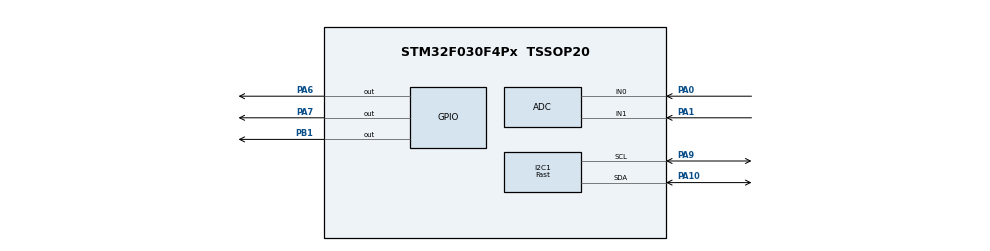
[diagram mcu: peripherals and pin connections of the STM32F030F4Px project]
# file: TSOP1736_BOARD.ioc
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I2C1.I2C_Speed_Mode=I2C_Fast
I2C1.Timing=0x0010020A
Mcu.Family=STM32F0
Mcu.Name=STM32F030F4Px
Mcu.Package=TSSOP20
PA0.Mode=IN0
PA0.Signal=ADC_IN0
PA1.Mode=IN1
PA1.Signal=ADC_IN1
PA10.Mode=I2C
PA10.Signal=I2C1_SDA
PA13.Mode=Serial_Wire
PA13.Signal=SYS_SWDIO
PA14.Mode=Serial_Wire
PA14.Signal=SYS_SWCLK
PA6.Signal=GPIO_Output
PA7.Signal=GPIO_Output
PA9.Mode=I2C
PA9.Signal=I2C1_SCL
PB1.Signal=GPIO_Output
ProjectManager.HeapSize=0x200
ProjectManager.StackSize=0x400
ProjectManager.TargetToolchain=STM32CubeIDE
board=custom

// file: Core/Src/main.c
/* USER CODE BEGIN Header */
/**
  ******************************************************************************
  * @file           : main.c
  * @brief          : Main program body
  ******************************************************************************
  * @attention
  *
  * Copyright (c) 2025 STMicroelectronics.
  * All rights reserved.
  *
  * This software is licensed under terms that can be found in the LICENSE file
  * in the root directory of this software component.
  * If no LICENSE file comes with this software, it is provided AS-IS.
  *
  ******************************************************************************
  */
/* USER CODE END Header */
#include "main.h"

ADC_HandleTypeDef hadc;

I2C_HandleTypeDef hi2c1;

void SystemClock_Config(void);
static void MX_GPIO_Init(void);
static void MX_ADC_Init(void);
static void MX_I2C1_Init(void);

/* USER CODE BEGIN 0 */
#define SLAVE_ADDR 0x09
#define SENSOR_COUNT 16
int sensors[SENSOR_COUNT];
int i=0;

int getBallAngle() {
	float sumX = 0, sumY = 0;
	for (i = 0; i < SENSOR_COUNT; i++) {
		// sensor position in degrees
		float angleDeg = i * (360.0 / SENSOR_COUNT);
		float angleRad = angleDeg * (3.1415926 / 180.0);
		sumX += sensors[i] * cos(angleRad);
		sumY += sensors[i] * sin(angleRad);
	}
	// Compute average vector angle
	float angle = atan2(sumY, sumX) * 180.0 / 3.1415926;
	// Normalize to 0–360 degrees
	if (angle < 0) angle += 360.0;
	return angle * 100;
}

/* USER CODE END 0 */

int main(void)
{

  /* MCU Configuration--------------------------------------------------------*/

  /* Reset of all peripherals, Initializes the Flash interface and the Systick. */
  HAL_Init();

  /* Configure the system clock */
  SystemClock_Config();

  /* Initialize all configured peripherals */
  MX_GPIO_Init();
  MX_ADC_Init();
  MX_I2C1_Init();

  /* Infinite loop */
  /* USER CODE BEGIN WHILE */
  uint8_t data[3] = {0x10, 0x20, 0x30};  // 3 bytes to send
  int zeros, ones;

  while (1)
  {
	  for(i = 0; i < 8; i++){
		  HAL_GPIO_WritePin(GPIOB, GPIO_PIN_1, (i/1) % 2);
		  HAL_GPIO_WritePin(GPIOA, GPIO_PIN_7, (i/2) % 2);
		  HAL_GPIO_WritePin(GPIOA, GPIO_PIN_6, (i/4) % 2);
		  uint32_t start = HAL_GetTick();
		  int pulse = 0;
		  while (HAL_GetTick() - start < 60) {
			  ones = 0;
			  while(HAL_GPIO_ReadPin(GPIOA, GPIO_PIN_0)) ones++;
			  zeros = 0;
			  while(HAL_GPIO_ReadPin(GPIOA, GPIO_PIN_1)) zeros++;
			  pulse++;
		  }
		  sensors[i] = zeros;
	  }
	  HAL_I2C_Master_Transmit(&hi2c1, SLAVE_ADDR << 1, data, 3, HAL_MAX_DELAY);
    /* USER CODE END WHILE */

  }
}

void SystemClock_Config(void)
{
  RCC_OscInitTypeDef RCC_OscInitStruct = {0};
  RCC_ClkInitTypeDef RCC_ClkInitStruct = {0};
  RCC_PeriphCLKInitTypeDef PeriphClkInit = {0};

  /** Initializes the RCC Oscillators according to the specified parameters
  * in the RCC_OscInitTypeDef structure.
  */
  RCC_OscInitStruct.OscillatorType = RCC_OSCILLATORTYPE_HSI|RCC_OSCILLATORTYPE_HSI14;
  RCC_OscInitStruct.HSIState = RCC_HSI_ON;
  RCC_OscInitStruct.HSI14State = RCC_HSI14_ON;
  RCC_OscInitStruct.HSICalibrationValue = RCC_HSICALIBRATION_DEFAULT;
  RCC_OscInitStruct.HSI14CalibrationValue = 16;
  RCC_OscInitStruct.PLL.PLLState = RCC_PLL_NONE;
  if (HAL_RCC_OscConfig(&RCC_OscInitStruct) != HAL_OK)
  {
    Error_Handler();
  }

  /** Initializes the CPU, AHB and APB buses clocks
  */
  RCC_ClkInitStruct.ClockType = RCC_CLOCKTYPE_HCLK|RCC_CLOCKTYPE_SYSCLK
                              |RCC_CLOCKTYPE_PCLK1;
  RCC_ClkInitStruct.SYSCLKSource = RCC_SYSCLKSOURCE_HSI;
  RCC_ClkInitStruct.AHBCLKDivider = RCC_SYSCLK_DIV1;
  RCC_ClkInitStruct.APB1CLKDivider = RCC_HCLK_DIV1;

  if (HAL_RCC_ClockConfig(&RCC_ClkInitStruct, FLASH_LATENCY_0) != HAL_OK)
  {
    Error_Handler();
  }
  PeriphClkInit.PeriphClockSelection = RCC_PERIPHCLK_I2C1;
  PeriphClkInit.I2c1ClockSelection = RCC_I2C1CLKSOURCE_HSI;
  if (HAL_RCCEx_PeriphCLKConfig(&PeriphClkInit) != HAL_OK)
  {
    Error_Handler();
  }
}

static void MX_ADC_Init(void)
{

  ADC_ChannelConfTypeDef sConfig = {0};

  /** Configure the global features of the ADC (Clock, Resolution, Data Alignment and number of conversion)
  */
  hadc.Instance = ADC1;
  hadc.Init.ClockPrescaler = ADC_CLOCK_ASYNC_DIV1;
  hadc.Init.Resolution = ADC_RESOLUTION_12B;
  hadc.Init.DataAlign = ADC_DATAALIGN_RIGHT;
  hadc.Init.ScanConvMode = ADC_SCAN_DIRECTION_FORWARD;
  hadc.Init.EOCSelection = ADC_EOC_SINGLE_CONV;
  hadc.Init.LowPowerAutoWait = DISABLE;
  hadc.Init.LowPowerAutoPowerOff = DISABLE;
  hadc.Init.ContinuousConvMode = DISABLE;
  hadc.Init.DiscontinuousConvMode = DISABLE;
  hadc.Init.ExternalTrigConv = ADC_SOFTWARE_START;
  hadc.Init.ExternalTrigConvEdge = ADC_EXTERNALTRIGCONVEDGE_NONE;
  hadc.Init.DMAContinuousRequests = DISABLE;
  hadc.Init.Overrun = ADC_OVR_DATA_PRESERVED;
  if (HAL_ADC_Init(&hadc) != HAL_OK)
  {
    Error_Handler();
  }

  /** Configure for the selected ADC regular channel to be converted.
  */
  sConfig.Channel = ADC_CHANNEL_0;
  sConfig.Rank = ADC_RANK_CHANNEL_NUMBER;
  sConfig.SamplingTime = ADC_SAMPLETIME_1CYCLE_5;
  if (HAL_ADC_ConfigChannel(&hadc, &sConfig) != HAL_OK)
  {
    Error_Handler();
  }

  /** Configure for the selected ADC regular channel to be converted.
  */
  sConfig.Channel = ADC_CHANNEL_1;
  if (HAL_ADC_ConfigChannel(&hadc, &sConfig) != HAL_OK)
  {
    Error_Handler();
  }

}

static void MX_I2C1_Init(void)
{

  hi2c1.Instance = I2C1;
  hi2c1.Init.Timing = 0x0010020A;
  hi2c1.Init.OwnAddress1 = 0;
  hi2c1.Init.AddressingMode = I2C_ADDRESSINGMODE_7BIT;
  hi2c1.Init.DualAddressMode = I2C_DUALADDRESS_DISABLE;
  hi2c1.Init.OwnAddress2 = 0;
  hi2c1.Init.OwnAddress2Masks = I2C_OA2_NOMASK;
  hi2c1.Init.GeneralCallMode = I2C_GENERALCALL_DISABLE;
  hi2c1.Init.NoStretchMode = I2C_NOSTRETCH_DISABLE;
  if (HAL_I2C_Init(&hi2c1) != HAL_OK)
  {
    Error_Handler();
  }

  /** Configure Analogue filter
  */
  if (HAL_I2CEx_ConfigAnalogFilter(&hi2c1, I2C_ANALOGFILTER_ENABLE) != HAL_OK)
  {
    Error_Handler();
  }

  /** Configure Digital filter
  */
  if (HAL_I2CEx_ConfigDigitalFilter(&hi2c1, 0) != HAL_OK)
  {
    Error_Handler();
  }

}

static void MX_GPIO_Init(void)
{
  GPIO_InitTypeDef GPIO_InitStruct = {0};

  /* GPIO Ports Clock Enable */
  __HAL_RCC_GPIOA_CLK_ENABLE();
  __HAL_RCC_GPIOB_CLK_ENABLE();

  /*Configure GPIO pin Output Level */
  HAL_GPIO_WritePin(GPIOA, GPIO_PIN_6|GPIO_PIN_7, GPIO_PIN_RESET);

  /*Configure GPIO pin Output Level */
  HAL_GPIO_WritePin(GPIOB, GPIO_PIN_1, GPIO_PIN_RESET);

  /*Configure GPIO pins : PA6 PA7 */
  GPIO_InitStruct.Pin = GPIO_PIN_6|GPIO_PIN_7;
  GPIO_InitStruct.Mode = GPIO_MODE_OUTPUT_PP;
  GPIO_InitStruct.Pull = GPIO_NOPULL;
  GPIO_InitStruct.Speed = GPIO_SPEED_FREQ_LOW;
  HAL_GPIO_Init(GPIOA, &GPIO_InitStruct);

  /*Configure GPIO pin : PB1 */
  GPIO_InitStruct.Pin = GPIO_PIN_1;
  GPIO_InitStruct.Mode = GPIO_MODE_OUTPUT_PP;
  GPIO_InitStruct.Pull = GPIO_NOPULL;
  GPIO_InitStruct.Speed = GPIO_SPEED_FREQ_LOW;
  HAL_GPIO_Init(GPIOB, &GPIO_InitStruct);

}

void Error_Handler(void)
{
  __disable_irq();
  while (1)
  {
  }
}
